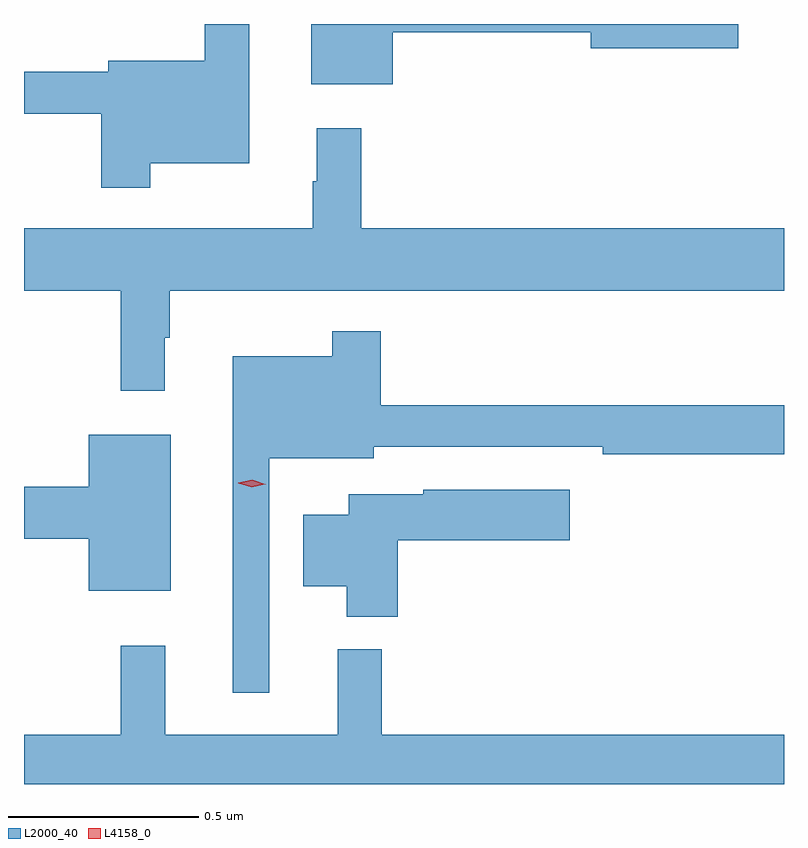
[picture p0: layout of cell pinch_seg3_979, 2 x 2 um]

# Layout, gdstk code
import gdstk
lib = gdstk.Library(unit=1e-6, precision=1e-09)
def P(c, l, *ps):  # polygons
    for p in ps: c.add(gdstk.Polygon(p, *l))
L2000_40 = (2000, 40)
L4158_0 = (4158, 0)

pinch_seg3_979 = lib.new_cell('pinch_seg3_979')
P(pinch_seg3_979, L2000_40, [(442.99,744.22),(443.51,744.22),(443.51,744.178),(443.899,744.178),(443.899,744.242),(442.775,744.242),(442.775,744.083),(442.99,744.083)],
  [(442.351,743.876),(442.612,743.876),(442.612,744.242),(442.515,744.242),(442.515,744.241),(442.495,744.241),(442.495,744.145),(442.241,744.145),(442.241,744.116),(442.019,744.116),(442.019,744.006),(442.222,744.006),(442.222,743.811),(442.351,743.811)],
  [(442.39,743.417),(442.402,743.417),(442.402,743.54),(444.019,743.54),(444.019,743.704),(442.907,743.704),(442.907,743.968),(442.79,743.968),(442.79,743.828),(442.779,743.828),(442.779,743.704),(442.019,743.704),(442.019,743.54),(442.273,743.54),(442.273,743.277),(442.39,743.277)],
  [(442.665,743.099),(442.939,743.099),(442.939,743.13),(443.542,743.13),(443.542,743.11),(444.019,743.11),(444.019,743.239),(442.958,743.239),(442.958,743.434),(442.83,743.434),(442.83,743.368),(442.568,743.368),(442.568,742.482),(442.665,742.482)],
  [(442.405,743.161),(442.19,743.161),(442.19,743.024),(442.019,743.024),(442.019,742.888),(442.19,742.888),(442.19,742.751),(442.405,742.751)],
  [(443.003,742.883),(443.455,742.883),(443.455,743.017),(443.07,743.017),(443.07,743.005),(442.874,743.005),(442.874,742.951),(442.754,742.951),(442.754,742.763),(442.868,742.763),(442.868,742.682),(443.003,742.682)],
  [(444.019,742.372),(442.961,742.372),(442.961,742.597),(442.844,742.597),(442.844,742.372),(442.391,742.372),(442.391,742.606),(442.273,742.606),(442.273,742.372),(442.019,742.372),(442.019,742.242),(444.019,742.242)])
P(pinch_seg3_979, L4158_0, [(442.618,743.023),(442.583,743.034),(442.583,743.035),(442.583,743.035),(442.619,743.043),(442.654,743.031),(442.655,743.031),(442.654,743.031)])

lib.write_gds('pinch_seg3_979.gds')
